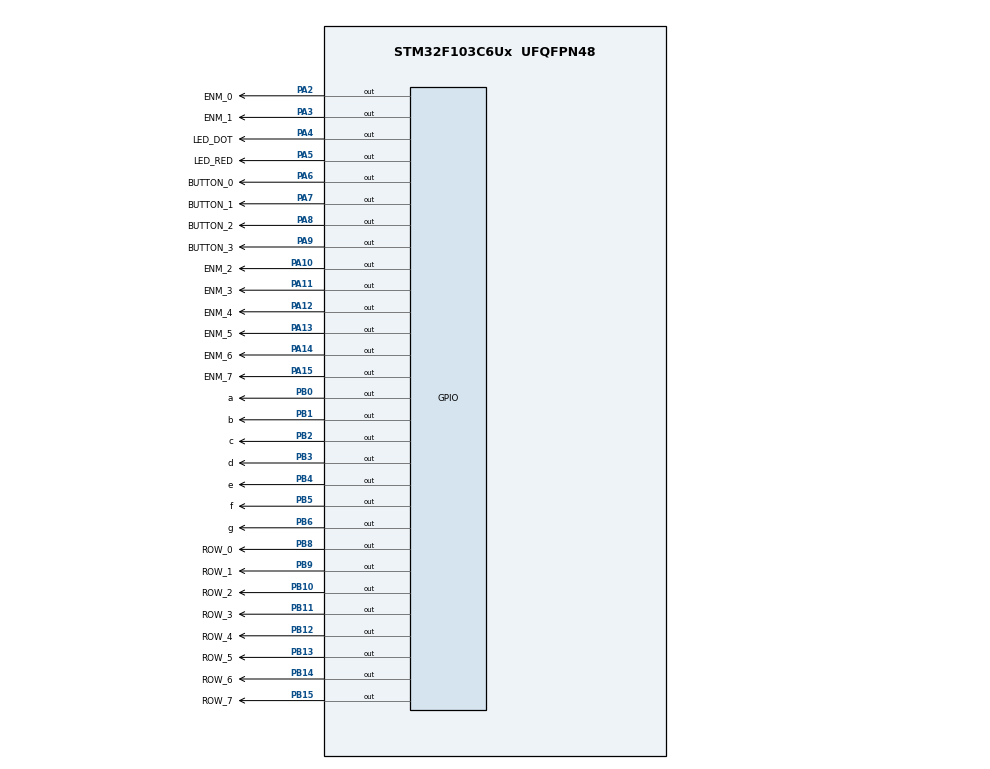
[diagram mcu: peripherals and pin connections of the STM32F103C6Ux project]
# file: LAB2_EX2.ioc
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Mcu.Family=STM32F1
Mcu.Name=STM32F103C6Ux
Mcu.Package=UFQFPN48
NVIC.PriorityGroup=NVIC_PRIORITYGROUP_4
NVIC.TIM2_IRQn=true\:0\:0\:false\:false\:true\:true\:true
PA10.GPIO_Label=ENM_2
PA10.Signal=GPIO_Output
PA11.GPIO_Label=ENM_3
PA11.Signal=GPIO_Output
PA12.GPIO_Label=ENM_4
PA12.Signal=GPIO_Output
PA13.GPIO_Label=ENM_5
PA13.Signal=GPIO_Output
PA14.GPIO_Label=ENM_6
PA14.Signal=GPIO_Output
PA15.GPIO_Label=ENM_7
PA15.Signal=GPIO_Output
PA2.GPIO_Label=ENM_0
PA2.Signal=GPIO_Output
PA3.GPIO_Label=ENM_1
PA3.Signal=GPIO_Output
PA4.GPIO_Label=LED_DOT
PA4.Signal=GPIO_Output
PA5.GPIO_Label=LED_RED
PA5.Signal=GPIO_Output
PA6.GPIO_Label=BUTTON_0
PA6.Signal=GPIO_Output
PA7.GPIO_Label=BUTTON_1
PA7.Signal=GPIO_Output
PA8.GPIO_Label=BUTTON_2
PA8.Signal=GPIO_Output
PA9.GPIO_Label=BUTTON_3
PA9.Signal=GPIO_Output
PB0.GPIO_Label=a
PB0.Signal=GPIO_Output
PB1.GPIO_Label=b
PB1.Signal=GPIO_Output
PB10.GPIO_Label=ROW_2
PB10.Signal=GPIO_Output
PB11.GPIO_Label=ROW_3
PB11.Signal=GPIO_Output
PB12.GPIO_Label=ROW_4
PB12.Signal=GPIO_Output
PB13.GPIO_Label=ROW_5
PB13.Signal=GPIO_Output
PB14.GPIO_Label=ROW_6
PB14.Signal=GPIO_Output
PB15.GPIO_Label=ROW_7
PB15.Signal=GPIO_Output
PB2.GPIO_Label=c
PB2.Signal=GPIO_Output
PB3.GPIO_Label=d
PB3.Signal=GPIO_Output
PB4.GPIO_Label=e
PB4.Signal=GPIO_Output
PB5.GPIO_Label=f
PB5.Signal=GPIO_Output
PB6.GPIO_Label=g
PB6.Signal=GPIO_Output
PB8.GPIO_Label=ROW_0
PB8.Signal=GPIO_Output
PB9.GPIO_Label=ROW_1
PB9.Signal=GPIO_Output
ProjectManager.HeapSize=0x200
ProjectManager.StackSize=0x400
ProjectManager.TargetToolchain=STM32CubeIDE
RCC.APB1Freq_Value=8000000
RCC.APB2Freq_Value=8000000
TIM2.Period=9
TIM2.Prescaler=7999
VP_SYS_VS_ND.Mode=No_Debug
VP_TIM2_VS_ClockSourceINT.Mode=Internal
board=custom

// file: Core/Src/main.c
/* USER CODE BEGIN Header */
/**
  ******************************************************************************
  * @file           : main.c
  * @brief          : Main program body
  ******************************************************************************
  * @attention
  *
  * <h2><center>&copy; Copyright (c) 2023 STMicroelectronics.
  * All rights reserved.</center></h2>
  *
  * This software component is licensed by ST under BSD 3-Clause license,
  * the "License"; You may not use this file except in compliance with the
  * License. You may obtain a copy of the License at:
  *                        opensource.org/licenses/BSD-3-Clause
  *
  ******************************************************************************
  */
/* USER CODE END Header */
#include "main.h"
#include "software_timer.h"

TIM_HandleTypeDef htim2;

void SystemClock_Config(void);
static void MX_GPIO_Init(void);
static void MX_TIM2_Init(void);
void display7SEG(int num);
void displayLEDMatrix(uint8_t value);

int main(void)
{

  /* MCU Configuration--------------------------------------------------------*/

  /* Reset of all peripherals, Initializes the Flash interface and the Systick. */
  HAL_Init();

  /* Configure the system clock */
  SystemClock_Config();

  /* Initialize all configured peripherals */
  MX_GPIO_Init();
  MX_TIM2_Init();
  /* USER CODE BEGIN 2 */
  HAL_TIM_Base_Start_IT (&htim2) ;
  const int MAX_LED = 4;
  const int MAX_LED_MATRIX = 8;
  int index_led_matrix = 0;
  int index_led = 0;
  int led_buffer [4] = {1 , 4 , 1 , 0};
  uint8_t matrix_buffer[8] = {0b00000000, 0b11111100, 0b00010010, 0b00010001, 0b00010001, 0b00010010, 0b11111100, 0b00000000};
  void update7SEG(int index){
	  display7SEG(led_buffer[index]);
	  switch(index){
	  case 0:
		  HAL_GPIO_WritePin(BUTTON_0_GPIO_Port, BUTTON_0_Pin, RESET);
		  HAL_GPIO_WritePin(BUTTON_1_GPIO_Port, BUTTON_1_Pin, SET);
		  HAL_GPIO_WritePin(BUTTON_2_GPIO_Port, BUTTON_2_Pin, SET);
		  HAL_GPIO_WritePin(BUTTON_3_GPIO_Port, BUTTON_3_Pin, SET);
		  break;
	  case 1:
		  HAL_GPIO_WritePin(BUTTON_0_GPIO_Port, BUTTON_0_Pin, SET);
		  HAL_GPIO_WritePin(BUTTON_1_GPIO_Port, BUTTON_1_Pin, RESET);
		  HAL_GPIO_WritePin(BUTTON_2_GPIO_Port, BUTTON_2_Pin, SET);
		  HAL_GPIO_WritePin(BUTTON_3_GPIO_Port, BUTTON_3_Pin, SET);
		  break;
	  case 2:
		  HAL_GPIO_WritePin(BUTTON_0_GPIO_Port, BUTTON_0_Pin, SET);
		  HAL_GPIO_WritePin(BUTTON_1_GPIO_Port, BUTTON_1_Pin, SET);
		  HAL_GPIO_WritePin(BUTTON_2_GPIO_Port, BUTTON_2_Pin, RESET);
		  HAL_GPIO_WritePin(BUTTON_3_GPIO_Port, BUTTON_3_Pin, SET);
		  break;
	  case 3:
		  HAL_GPIO_WritePin(BUTTON_0_GPIO_Port, BUTTON_0_Pin, SET);
		  HAL_GPIO_WritePin(BUTTON_1_GPIO_Port, BUTTON_1_Pin, SET);
		  HAL_GPIO_WritePin(BUTTON_2_GPIO_Port, BUTTON_2_Pin, SET);
		  HAL_GPIO_WritePin(BUTTON_3_GPIO_Port, BUTTON_3_Pin, RESET);
		  break;
	  default:
		  break;
	  }
  }

  void updateLEDMatrix(int index) {
	  switch (index) {
	  case 0:
		  HAL_GPIO_WritePin(ENM_0_GPIO_Port, ENM_0_Pin, SET);
		  HAL_GPIO_WritePin(ENM_1_GPIO_Port, ENM_1_Pin, SET);
		  HAL_GPIO_WritePin(ENM_2_GPIO_Port, ENM_2_Pin, SET);
		  HAL_GPIO_WritePin(ENM_3_GPIO_Port, ENM_3_Pin, SET);
		  HAL_GPIO_WritePin(ENM_4_GPIO_Port, ENM_4_Pin, SET);
		  HAL_GPIO_WritePin(ENM_5_GPIO_Port, ENM_5_Pin, SET);
		  HAL_GPIO_WritePin(ENM_6_GPIO_Port, ENM_6_Pin, SET);
		  HAL_GPIO_WritePin(ENM_7_GPIO_Port, ENM_7_Pin, SET);
		  displayLEDMatrix(matrix_buffer[index]);
		  break;
	  case 1:
		  HAL_GPIO_WritePin(ENM_0_GPIO_Port, ENM_0_Pin, SET);
		  HAL_GPIO_WritePin(ENM_1_GPIO_Port, ENM_1_Pin, RESET);
		  HAL_GPIO_WritePin(ENM_2_GPIO_Port, ENM_2_Pin, SET);
		  HAL_GPIO_WritePin(ENM_3_GPIO_Port, ENM_3_Pin, SET);
		  HAL_GPIO_WritePin(ENM_4_GPIO_Port, ENM_4_Pin, SET);
		  HAL_GPIO_WritePin(ENM_5_GPIO_Port, ENM_5_Pin, SET);
		  HAL_GPIO_WritePin(ENM_6_GPIO_Port, ENM_6_Pin, SET);
		  HAL_GPIO_WritePin(ENM_7_GPIO_Port, ENM_7_Pin, SET);
		  displayLEDMatrix(matrix_buffer[index]);
		  break;
	  case 2:
	  	  HAL_GPIO_WritePin(ENM_0_GPIO_Port, ENM_0_Pin, SET);
		  HAL_GPIO_WritePin(ENM_1_GPIO_Port, ENM_1_Pin, SET);
		  HAL_GPIO_WritePin(ENM_2_GPIO_Port, ENM_2_Pin, RESET);
		  HAL_GPIO_WritePin(ENM_3_GPIO_Port, ENM_3_Pin, SET);
		  HAL_GPIO_WritePin(ENM_4_GPIO_Port, ENM_4_Pin, SET);
		  HAL_GPIO_WritePin(ENM_5_GPIO_Port, ENM_5_Pin, SET);
		  HAL_GPIO_WritePin(ENM_6_GPIO_Port, ENM_6_Pin, SET);
		  HAL_GPIO_WritePin(ENM_7_GPIO_Port, ENM_7_Pin, SET);
		  displayLEDMatrix(matrix_buffer[index]);
		  break;
	  case 3:
	  	  HAL_GPIO_WritePin(ENM_0_GPIO_Port, ENM_0_Pin, SET);
		  HAL_GPIO_WritePin(ENM_1_GPIO_Port, ENM_1_Pin, SET);
		  HAL_GPIO_WritePin(ENM_2_GPIO_Port, ENM_2_Pin, SET);
		  HAL_GPIO_WritePin(ENM_3_GPIO_Port, ENM_3_Pin, RESET);
		  HAL_GPIO_WritePin(ENM_4_GPIO_Port, ENM_4_Pin, SET);
		  HAL_GPIO_WritePin(ENM_5_GPIO_Port, ENM_5_Pin, SET);
		  HAL_GPIO_WritePin(ENM_6_GPIO_Port, ENM_6_Pin, SET);
		  HAL_GPIO_WritePin(ENM_7_GPIO_Port, ENM_7_Pin, SET);
		  displayLEDMatrix(matrix_buffer[index]);
		  break;
	  case 4:
	  	  HAL_GPIO_WritePin(ENM_0_GPIO_Port, ENM_0_Pin, SET);
		  HAL_GPIO_WritePin(ENM_1_GPIO_Port, ENM_1_Pin, SET);
		  HAL_GPIO_WritePin(ENM_2_GPIO_Port, ENM_2_Pin, SET);
		  HAL_GPIO_WritePin(ENM_3_GPIO_Port, ENM_3_Pin, SET);
		  HAL_GPIO_WritePin(ENM_4_GPIO_Port, ENM_4_Pin, RESET);
		  HAL_GPIO_WritePin(ENM_5_GPIO_Port, ENM_5_Pin, SET);
		  HAL_GPIO_WritePin(ENM_6_GPIO_Port, ENM_6_Pin, SET);
		  HAL_GPIO_WritePin(ENM_7_GPIO_Port, ENM_7_Pin, SET);
		  displayLEDMatrix(matrix_buffer[index]);
		  break;
	  case 5:
	  	  HAL_GPIO_WritePin(ENM_0_GPIO_Port, ENM_0_Pin, SET);
		  HAL_GPIO_WritePin(ENM_1_GPIO_Port, ENM_1_Pin, SET);
		  HAL_GPIO_WritePin(ENM_2_GPIO_Port, ENM_2_Pin, SET);
		  HAL_GPIO_WritePin(ENM_3_GPIO_Port, ENM_3_Pin, SET);
		  HAL_GPIO_WritePin(ENM_4_GPIO_Port, ENM_4_Pin, SET);
		  HAL_GPIO_WritePin(ENM_5_GPIO_Port, ENM_5_Pin, RESET);
		  HAL_GPIO_WritePin(ENM_6_GPIO_Port, ENM_6_Pin, SET);
		  HAL_GPIO_WritePin(ENM_7_GPIO_Port, ENM_7_Pin, SET);
		  displayLEDMatrix(matrix_buffer[index]);
		  break;
	  case 6:
	  	  HAL_GPIO_WritePin(ENM_0_GPIO_Port, ENM_0_Pin, SET);
		  HAL_GPIO_WritePin(ENM_1_GPIO_Port, ENM_1_Pin, SET);
		  HAL_GPIO_WritePin(ENM_2_GPIO_Port, ENM_2_Pin, SET);
		  HAL_GPIO_WritePin(ENM_3_GPIO_Port, ENM_3_Pin, SET);
		  HAL_GPIO_WritePin(ENM_4_GPIO_Port, ENM_4_Pin, SET);
		  HAL_GPIO_WritePin(ENM_5_GPIO_Port, ENM_5_Pin, SET);
		  HAL_GPIO_WritePin(ENM_6_GPIO_Port, ENM_6_Pin, RESET);
		  HAL_GPIO_WritePin(ENM_7_GPIO_Port, ENM_7_Pin, SET);
		  displayLEDMatrix(matrix_buffer[index]);
		  break;
	  case 7:
	  	  HAL_GPIO_WritePin(ENM_0_GPIO_Port, ENM_0_Pin, SET);
		  HAL_GPIO_WritePin(ENM_1_GPIO_Port, ENM_1_Pin, SET);
		  HAL_GPIO_WritePin(ENM_2_GPIO_Port, ENM_2_Pin, SET);
		  HAL_GPIO_WritePin(ENM_3_GPIO_Port, ENM_3_Pin, SET);
		  HAL_GPIO_WritePin(ENM_4_GPIO_Port, ENM_4_Pin, SET);
		  HAL_GPIO_WritePin(ENM_5_GPIO_Port, ENM_5_Pin, SET);
		  HAL_GPIO_WritePin(ENM_6_GPIO_Port, ENM_6_Pin, SET);
		  HAL_GPIO_WritePin(ENM_7_GPIO_Port, ENM_7_Pin, SET);
		  displayLEDMatrix(matrix_buffer[index]);
		  break;
	  default:
	  	  break;
	  }
  }

  void shiftMatrixLeft() {
	  uint8_t temp = matrix_buffer[0];
	  matrix_buffer[0] = matrix_buffer[1];
	  matrix_buffer[1] = matrix_buffer[2];
	  matrix_buffer[2] = matrix_buffer[3];
	  matrix_buffer[3] = matrix_buffer[4];
	  matrix_buffer[4] = matrix_buffer[5];
	  matrix_buffer[5] = matrix_buffer[6];
	  matrix_buffer[6] = matrix_buffer[7];
	  matrix_buffer[7] = temp;
  }

  int hour = 17, minute = 8, second = 50;
  void updateClockBuffer(){
    led_buffer[0] = hour / 10;
    led_buffer[1] = hour % 10;
    led_buffer[2] = minute / 10;
    led_buffer[3] = minute % 10;
  }
  /* USER CODE END 2 */
  setTimer(50);
  setTimer0(1000);
  setTimerRed(100);
  setTimerMatrix(25);
  /* Infinite loop */
  /* USER CODE BEGIN WHILE */
  while (1)
  {
	  if (timer_red_flag == 1) {
		  second++;
		  if(second >= 60){
			  second = 0;
			  minute++;
		  }
		  if(minute >= 60){
			  minute = 0;
			  hour++;
		  }
		  if(hour >= 24) hour = 0;
		  updateClockBuffer();
		  HAL_GPIO_TogglePin(LED_DOT_GPIO_Port, LED_DOT_Pin);
		  setTimerRed(100);
	  }
	  if(timer_flag == 1) {
	  	  update7SEG(index_led++);
	  	  if(index_led >= MAX_LED) index_led = 0;
	  	  setTimer(50);
	  }
	  if (timer0_flag == 1) {
		  HAL_GPIO_TogglePin(LED_RED_GPIO_Port, LED_RED_Pin);
		  shiftMatrixLeft();
		  setTimer0(1000);
	  }
	  if (timer_matrix_flag == 1) {
		  updateLEDMatrix(index_led_matrix++);
		  if (index_led_matrix >= MAX_LED_MATRIX) index_led_matrix = 0;
		  setTimerMatrix(25);
	  }
    /* USER CODE END WHILE */

  }
}

void SystemClock_Config(void)
{
  RCC_OscInitTypeDef RCC_OscInitStruct = {0};
  RCC_ClkInitTypeDef RCC_ClkInitStruct = {0};

  /** Initializes the RCC Oscillators according to the specified parameters
  * in the RCC_OscInitTypeDef structure.
  */
  RCC_OscInitStruct.OscillatorType = RCC_OSCILLATORTYPE_HSI;
  RCC_OscInitStruct.HSIState = RCC_HSI_ON;
  RCC_OscInitStruct.HSICalibrationValue = RCC_HSICALIBRATION_DEFAULT;
  RCC_OscInitStruct.PLL.PLLState = RCC_PLL_NONE;
  if (HAL_RCC_OscConfig(&RCC_OscInitStruct) != HAL_OK)
  {
    Error_Handler();
  }
  /** Initializes the CPU, AHB and APB buses clocks
  */
  RCC_ClkInitStruct.ClockType = RCC_CLOCKTYPE_HCLK|RCC_CLOCKTYPE_SYSCLK
                              |RCC_CLOCKTYPE_PCLK1|RCC_CLOCKTYPE_PCLK2;
  RCC_ClkInitStruct.SYSCLKSource = RCC_SYSCLKSOURCE_HSI;
  RCC_ClkInitStruct.AHBCLKDivider = RCC_SYSCLK_DIV1;
  RCC_ClkInitStruct.APB1CLKDivider = RCC_HCLK_DIV1;
  RCC_ClkInitStruct.APB2CLKDivider = RCC_HCLK_DIV1;

  if (HAL_RCC_ClockConfig(&RCC_ClkInitStruct, FLASH_LATENCY_0) != HAL_OK)
  {
    Error_Handler();
  }
}

static void MX_TIM2_Init(void)
{

  TIM_ClockConfigTypeDef sClockSourceConfig = {0};
  TIM_MasterConfigTypeDef sMasterConfig = {0};

  htim2.Instance = TIM2;
  htim2.Init.Prescaler = 7999;
  htim2.Init.CounterMode = TIM_COUNTERMODE_UP;
  htim2.Init.Period = 9;
  htim2.Init.ClockDivision = TIM_CLOCKDIVISION_DIV1;
  htim2.Init.AutoReloadPreload = TIM_AUTORELOAD_PRELOAD_DISABLE;
  if (HAL_TIM_Base_Init(&htim2) != HAL_OK)
  {
    Error_Handler();
  }
  sClockSourceConfig.ClockSource = TIM_CLOCKSOURCE_INTERNAL;
  if (HAL_TIM_ConfigClockSource(&htim2, &sClockSourceConfig) != HAL_OK)
  {
    Error_Handler();
  }
  sMasterConfig.MasterOutputTrigger = TIM_TRGO_RESET;
  sMasterConfig.MasterSlaveMode = TIM_MASTERSLAVEMODE_DISABLE;
  if (HAL_TIMEx_MasterConfigSynchronization(&htim2, &sMasterConfig) != HAL_OK)
  {
    Error_Handler();
  }

}

static void MX_GPIO_Init(void)
{
  GPIO_InitTypeDef GPIO_InitStruct = {0};

  /* GPIO Ports Clock Enable */
  __HAL_RCC_GPIOA_CLK_ENABLE();
  __HAL_RCC_GPIOB_CLK_ENABLE();

  /*Configure GPIO pin Output Level */
  HAL_GPIO_WritePin(GPIOA, ENM_0_Pin|ENM_1_Pin|LED_DOT_Pin|LED_RED_Pin
                          |BUTTON_0_Pin|BUTTON_1_Pin|BUTTON_2_Pin|BUTTON_3_Pin
                          |ENM_2_Pin|ENM_3_Pin|ENM_4_Pin|ENM_5_Pin
                          |ENM_6_Pin|ENM_7_Pin, GPIO_PIN_RESET);

  /*Configure GPIO pin Output Level */
  HAL_GPIO_WritePin(GPIOB, a_Pin|b_Pin|c_Pin|ROW_2_Pin
                          |ROW_3_Pin|ROW_4_Pin|ROW_5_Pin|ROW_6_Pin
                          |ROW_7_Pin|d_Pin|e_Pin|f_Pin
                          |g_Pin|ROW_0_Pin|ROW_1_Pin, GPIO_PIN_RESET);

  /*Configure GPIO pins : ENM_0_Pin ENM_1_Pin LED_DOT_Pin LED_RED_Pin
                           BUTTON_0_Pin BUTTON_1_Pin BUTTON_2_Pin BUTTON_3_Pin
                           ENM_2_Pin ENM_3_Pin ENM_4_Pin ENM_5_Pin
                           ENM_6_Pin ENM_7_Pin */
  GPIO_InitStruct.Pin = ENM_0_Pin|ENM_1_Pin|LED_DOT_Pin|LED_RED_Pin
                          |BUTTON_0_Pin|BUTTON_1_Pin|BUTTON_2_Pin|BUTTON_3_Pin
                          |ENM_2_Pin|ENM_3_Pin|ENM_4_Pin|ENM_5_Pin
                          |ENM_6_Pin|ENM_7_Pin;
  GPIO_InitStruct.Mode = GPIO_MODE_OUTPUT_PP;
  GPIO_InitStruct.Pull = GPIO_NOPULL;
  GPIO_InitStruct.Speed = GPIO_SPEED_FREQ_LOW;
  HAL_GPIO_Init(GPIOA, &GPIO_InitStruct);

  /*Configure GPIO pins : a_Pin b_Pin c_Pin ROW_2_Pin
                           ROW_3_Pin ROW_4_Pin ROW_5_Pin ROW_6_Pin
                           ROW_7_Pin d_Pin e_Pin f_Pin
                           g_Pin ROW_0_Pin ROW_1_Pin */
  GPIO_InitStruct.Pin = a_Pin|b_Pin|c_Pin|ROW_2_Pin
                          |ROW_3_Pin|ROW_4_Pin|ROW_5_Pin|ROW_6_Pin
                          |ROW_7_Pin|d_Pin|e_Pin|f_Pin
                          |g_Pin|ROW_0_Pin|ROW_1_Pin;
  GPIO_InitStruct.Mode = GPIO_MODE_OUTPUT_PP;
  GPIO_InitStruct.Pull = GPIO_NOPULL;
  GPIO_InitStruct.Speed = GPIO_SPEED_FREQ_LOW;
  HAL_GPIO_Init(GPIOB, &GPIO_InitStruct);

}

void display7SEG(int num) {
	switch(num){
	    	  	  	case 0:
	    				  HAL_GPIO_WritePin(a_GPIO_Port, a_Pin, RESET);
	    				  HAL_GPIO_WritePin(b_GPIO_Port, b_Pin, RESET);
	    				  HAL_GPIO_WritePin(c_GPIO_Port, c_Pin, RESET);
	    				  HAL_GPIO_WritePin(d_GPIO_Port, d_Pin, RESET);
	    				  HAL_GPIO_WritePin(e_GPIO_Port, e_Pin, RESET);
	    				  HAL_GPIO_WritePin(f_GPIO_Port, f_Pin, RESET);
	    				  HAL_GPIO_WritePin(g_GPIO_Port, g_Pin, SET);
	    				  break;
	    	  		case 1:
	    				  HAL_GPIO_WritePin(a_GPIO_Port, a_Pin, SET);
	    				  HAL_GPIO_WritePin(b_GPIO_Port, b_Pin, RESET);
	    				  HAL_GPIO_WritePin(c_GPIO_Port, c_Pin, RESET);
	    				  HAL_GPIO_WritePin(d_GPIO_Port, d_Pin, SET);
	    				  HAL_GPIO_WritePin(e_GPIO_Port, e_Pin, SET);
	    				  HAL_GPIO_WritePin(f_GPIO_Port, f_Pin, SET);
	    				  HAL_GPIO_WritePin(g_GPIO_Port, g_Pin, SET);
	    				  break;
	    	  		case 2:
	    				  HAL_GPIO_WritePin(a_GPIO_Port, a_Pin, RESET);
	    				  HAL_GPIO_WritePin(b_GPIO_Port, b_Pin, RESET);
	    				  HAL_GPIO_WritePin(c_GPIO_Port, c_Pin, SET);
	    				  HAL_GPIO_WritePin(d_GPIO_Port, d_Pin, RESET);
	    				  HAL_GPIO_WritePin(e_GPIO_Port, e_Pin, RESET);
	    				  HAL_GPIO_WritePin(f_GPIO_Port, f_Pin, SET);
	    				  HAL_GPIO_WritePin(g_GPIO_Port, g_Pin, RESET);
	    				  break;
	    	  		case 3:
	    				  HAL_GPIO_WritePin(a_GPIO_Port, a_Pin, RESET);
	    				  HAL_GPIO_WritePin(b_GPIO_Port, b_Pin, RESET);
	    				  HAL_GPIO_WritePin(c_GPIO_Port, c_Pin, RESET);
	    				  HAL_GPIO_WritePin(d_GPIO_Port, d_Pin, RESET);
	    				  HAL_GPIO_WritePin(e_GPIO_Port, e_Pin, SET);
	    				  HAL_GPIO_WritePin(f_GPIO_Port, f_Pin, SET);
	    				  HAL_GPIO_WritePin(g_GPIO_Port, g_Pin, RESET);
	    				  break;
	    	  		case 4:
	    		  		  HAL_GPIO_WritePin(a_GPIO_Port, a_Pin, SET);
	    				  HAL_GPIO_WritePin(b_GPIO_Port, b_Pin, RESET);
	    				  HAL_GPIO_WritePin(c_GPIO_Port, c_Pin, RESET);
	    				  HAL_GPIO_WritePin(d_GPIO_Port, d_Pin, SET);
	    				  HAL_GPIO_WritePin(e_GPIO_Port, e_Pin, SET);
	    				  HAL_GPIO_WritePin(f_GPIO_Port, f_Pin, RESET);
	    				  HAL_GPIO_WritePin(g_GPIO_Port, g_Pin, RESET);
	    				  break;
	    			case 5:
	    				  HAL_GPIO_WritePin(a_GPIO_Port, a_Pin, RESET);
	    				  HAL_GPIO_WritePin(b_GPIO_Port, b_Pin, SET);
	    				  HAL_GPIO_WritePin(c_GPIO_Port, c_Pin, RESET);
	    				  HAL_GPIO_WritePin(d_GPIO_Port, d_Pin, RESET);
	    				  HAL_GPIO_WritePin(e_GPIO_Port, e_Pin, SET);
	    				  HAL_GPIO_WritePin(f_GPIO_Port, f_Pin, RESET);
	    				  HAL_GPIO_WritePin(g_GPIO_Port, g_Pin, RESET);
	    				  break;
	    			case 6:
	    				  HAL_GPIO_WritePin(a_GPIO_Port, a_Pin, RESET);
	    				  HAL_GPIO_WritePin(b_GPIO_Port, b_Pin, SET);
	    				  HAL_GPIO_WritePin(c_GPIO_Port, c_Pin, RESET);
	    				  HAL_GPIO_WritePin(d_GPIO_Port, d_Pin, RESET);
	    				  HAL_GPIO_WritePin(e_GPIO_Port, e_Pin, RESET);
	    				  HAL_GPIO_WritePin(f_GPIO_Port, f_Pin, RESET);
	    				  HAL_GPIO_WritePin(g_GPIO_Port, g_Pin, RESET);
	    				  break;
	    			case 7:
	    				  HAL_GPIO_WritePin(a_GPIO_Port, a_Pin, RESET);
	    				  HAL_GPIO_WritePin(b_GPIO_Port, b_Pin, RESET);
	    				  HAL_GPIO_WritePin(c_GPIO_Port, c_Pin, RESET);
	    				  HAL_GPIO_WritePin(d_GPIO_Port, d_Pin, SET);
	    				  HAL_GPIO_WritePin(e_GPIO_Port, e_Pin, SET);
	    				  HAL_GPIO_WritePin(f_GPIO_Port, f_Pin, SET);
	    				  HAL_GPIO_WritePin(g_GPIO_Port, g_Pin, SET);
	    				  break;
	    			case 8:
	    				  HAL_GPIO_WritePin(a_GPIO_Port, a_Pin, RESET);
	    				  HAL_GPIO_WritePin(b_GPIO_Port, b_Pin, RESET);
	    				  HAL_GPIO_WritePin(c_GPIO_Port, c_Pin, RESET);
	    				  HAL_GPIO_WritePin(d_GPIO_Port, d_Pin, RESET);
	    				  HAL_GPIO_WritePin(e_GPIO_Port, e_Pin, RESET);
	    				  HAL_GPIO_WritePin(f_GPIO_Port, f_Pin, RESET);
	    				  HAL_GPIO_WritePin(g_GPIO_Port, g_Pin, RESET);
	    				  break;
	    			case 9:
	    				  HAL_GPIO_WritePin(a_GPIO_Port, a_Pin, RESET);
	    				  HAL_GPIO_WritePin(b_GPIO_Port, b_Pin, RESET);
	    				  HAL_GPIO_WritePin(c_GPIO_Port, c_Pin, RESET);
	    				  HAL_GPIO_WritePin(d_GPIO_Port, d_Pin, RESET);
	    				  HAL_GPIO_WritePin(e_GPIO_Port, e_Pin, SET);
	    				  HAL_GPIO_WritePin(f_GPIO_Port, f_Pin, RESET);
	    				  HAL_GPIO_WritePin(g_GPIO_Port, g_Pin, RESET);
	    				  break;
	}
}

void displayLEDMatrix(uint8_t value) {
		if (value & (1U << 0))
			HAL_GPIO_WritePin(ROW_0_GPIO_Port, ROW_0_Pin, GPIO_PIN_RESET);
		else
			HAL_GPIO_WritePin(ROW_0_GPIO_Port, ROW_0_Pin, GPIO_PIN_SET);

		if (value & (1U << 1))
			HAL_GPIO_WritePin(ROW_1_GPIO_Port, ROW_1_Pin, GPIO_PIN_RESET);
		else
			HAL_GPIO_WritePin(ROW_1_GPIO_Port, ROW_1_Pin, GPIO_PIN_SET);

		if (value & (1U << 2))
			HAL_GPIO_WritePin(ROW_2_GPIO_Port, ROW_2_Pin, GPIO_PIN_RESET);
		else
			HAL_GPIO_WritePin(ROW_2_GPIO_Port, ROW_2_Pin, GPIO_PIN_SET);

		if (value & (1U << 3))
			HAL_GPIO_WritePin(ROW_3_GPIO_Port, ROW_3_Pin, GPIO_PIN_RESET);
		else
			HAL_GPIO_WritePin(ROW_3_GPIO_Port, ROW_3_Pin, GPIO_PIN_SET);

		if (value & (1U << 4))
			HAL_GPIO_WritePin(ROW_4_GPIO_Port, ROW_4_Pin, GPIO_PIN_RESET);
		else
			HAL_GPIO_WritePin(ROW_4_GPIO_Port, ROW_4_Pin, GPIO_PIN_SET);

		if (value & (1U << 5))
			HAL_GPIO_WritePin(ROW_5_GPIO_Port, ROW_5_Pin, GPIO_PIN_RESET);
		else
			HAL_GPIO_WritePin(ROW_5_GPIO_Port, ROW_5_Pin, GPIO_PIN_SET);

		if (value & (1U << 6))
			HAL_GPIO_WritePin(ROW_6_GPIO_Port, ROW_6_Pin, GPIO_PIN_RESET);
		else
			HAL_GPIO_WritePin(ROW_6_GPIO_Port, ROW_6_Pin, GPIO_PIN_SET);

		if (value & (1U << 7))
			HAL_GPIO_WritePin(ROW_7_GPIO_Port, ROW_7_Pin, GPIO_PIN_RESET);
		else
			HAL_GPIO_WritePin(ROW_7_GPIO_Port, ROW_7_Pin, GPIO_PIN_SET);
}

/* USER CODE BEGIN 4 */
void HAL_TIM_PeriodElapsedCallback( TIM_HandleTypeDef * htim )
{
	timerRun();
}
/* USER CODE END 4 */

void Error_Handler(void)
{
  __disable_irq();
  while (1)
  {
  }
}

/************************ (C) COPYRIGHT STMicroelectronics *****END OF FILE****/
